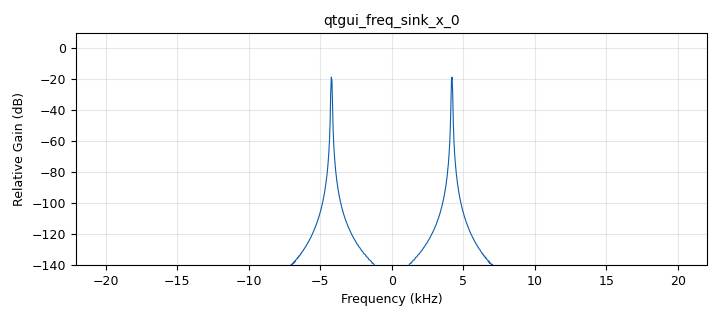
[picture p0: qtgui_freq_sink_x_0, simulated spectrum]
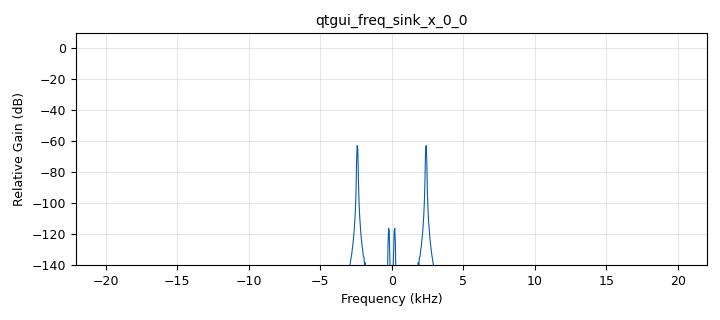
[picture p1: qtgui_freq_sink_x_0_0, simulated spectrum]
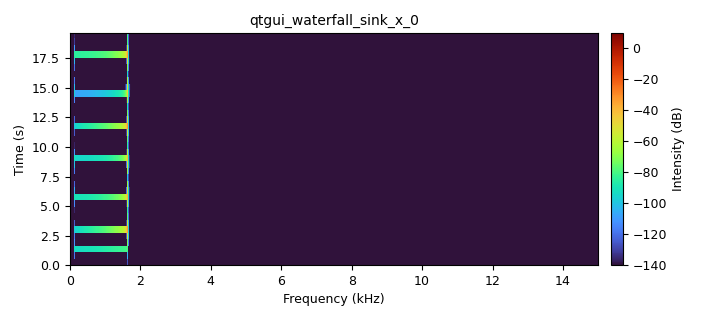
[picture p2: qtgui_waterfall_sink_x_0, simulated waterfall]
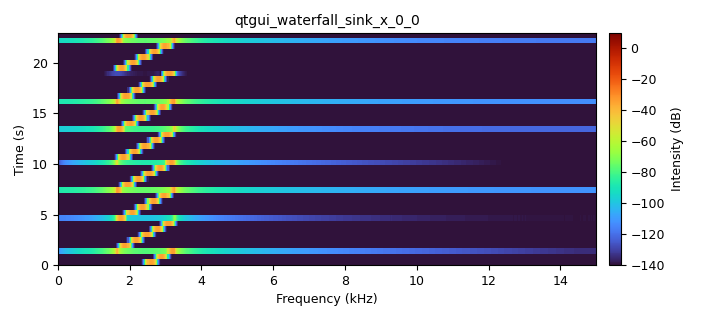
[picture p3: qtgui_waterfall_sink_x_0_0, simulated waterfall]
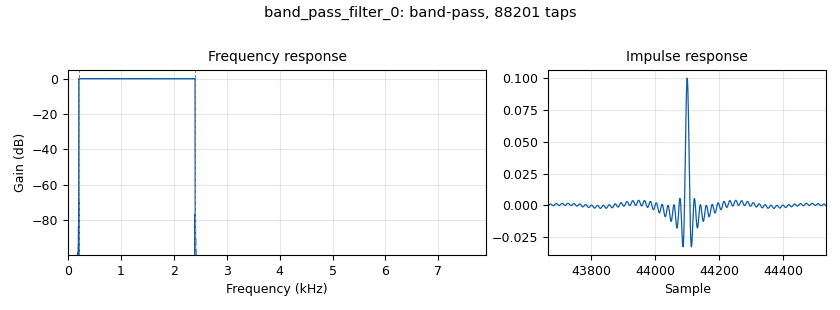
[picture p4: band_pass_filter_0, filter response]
options:
  parameters:
    author: admin
    generate_options: qt_gui
    id: sweep1
    output_language: python
    title: Not titled yet
  states: {}

blocks:
- name: samp_rate
  id: variable
  parameters:
    value: '44100'
  states: {}
- name: analog_const_source_x_0
  id: analog_const_source_x
  parameters:
    const: '1.003'
    type: float
  states: {}
- name: analog_sig_source_x_0
  id: analog_sig_source_x
  parameters:
    amp: '1'
    freq: '0.5'
    offset: '0'
    phase: '0'
    samp_rate: samp_rate
    type: float
    waveform: analog.GR_SAW_WAVE
  states: {}
- name: audio_sink_0
  id: audio_sink
  parameters:
    samp_rate: samp_rate
  states: {}
- name: band_pass_filter_0
  id: band_pass_filter
  parameters:
    gain: '1'
    high_cutoff_freq: '2400'
    interp: '1'
    low_cutoff_freq: '200'
    samp_rate: samp_rate
    type: interp_fir_filter_fff
    width: '1'
    win: window.WIN_HANN
  states: {}
- name: blocks_add_xx_0
  id: blocks_add_xx
  parameters:
    type: float
  states: {}
- name: blocks_multiply_const_vxx_0
  id: blocks_multiply_const_vxx
  parameters:
    const: '2'
    type: float
  states: {}
- name: blocks_vco_f_0
  id: blocks_vco_f
  parameters:
    amplitude: '0.5'
    samp_rate: samp_rate
    sensitivity: '14980'
  states: {}
- name: qtgui_freq_sink_x_0
  id: qtgui_freq_sink_x
  parameters:
    bw: samp_rate
    fc: '0'
    fftsize: '1024'
    type: float
    wintype: window.WIN_HANN
  states: {}
- name: qtgui_freq_sink_x_0_0
  id: qtgui_freq_sink_x
  parameters:
    bw: samp_rate
    fc: '0'
    fftsize: '1024'
    type: float
    wintype: window.WIN_HANN
  states: {}
- name: qtgui_waterfall_sink_x_0
  id: qtgui_waterfall_sink_x
  parameters:
    bw: '30000'
    fc: '0'
    fftsize: '16384'
    freqhalf: 'False'
    grid: 'True'
    type: float
    update_time: '0.2'
    wintype: window.WIN_HANN
  states: {}
- name: qtgui_waterfall_sink_x_0_0
  id: qtgui_waterfall_sink_x
  parameters:
    bw: '30000'
    fc: '0'
    fftsize: '16384'
    freqhalf: 'False'
    grid: 'True'
    type: float
    update_time: '0.2'
    wintype: window.WIN_HANN
  states: {}

connections:
- [analog_const_source_x_0, '0', blocks_add_xx_0, '1']
- [analog_sig_source_x_0, '0', blocks_add_xx_0, '0']
- [band_pass_filter_0, '0', blocks_multiply_const_vxx_0, '0']
- [blocks_add_xx_0, '0', blocks_vco_f_0, '0']
- [blocks_multiply_const_vxx_0, '0', audio_sink_0, '0']
- [blocks_multiply_const_vxx_0, '0', qtgui_freq_sink_x_0_0, '0']
- [blocks_multiply_const_vxx_0, '0', qtgui_waterfall_sink_x_0, '0']
- [blocks_vco_f_0, '0', band_pass_filter_0, '0']
- [blocks_vco_f_0, '0', qtgui_freq_sink_x_0, '0']
- [blocks_vco_f_0, '0', qtgui_waterfall_sink_x_0_0, '0']

metadata:
  file_format: 1
  grc_version: 3.10.12.0
